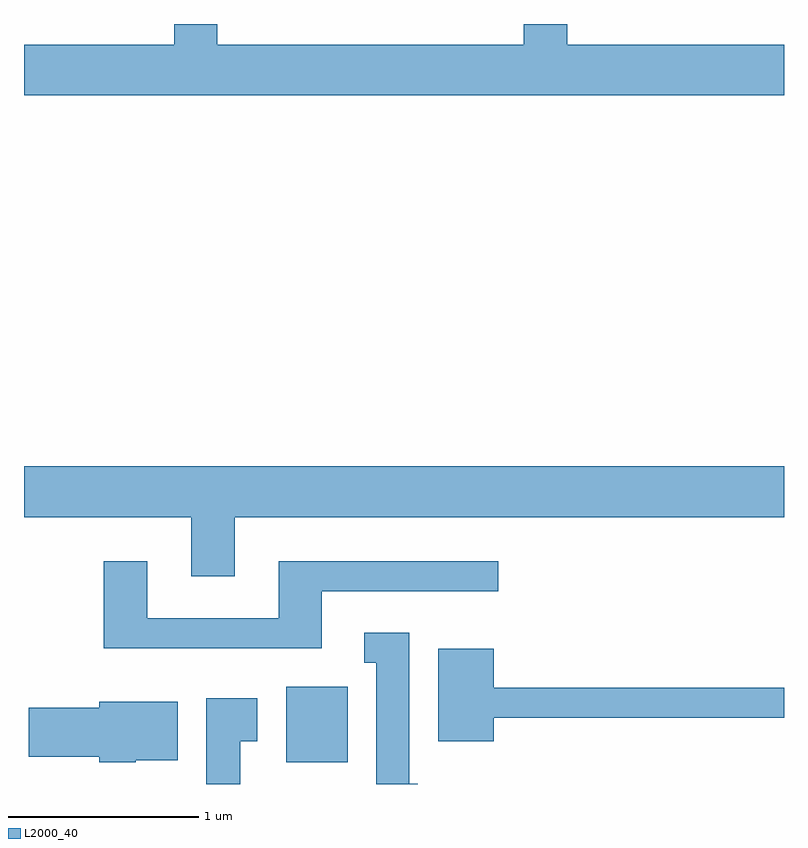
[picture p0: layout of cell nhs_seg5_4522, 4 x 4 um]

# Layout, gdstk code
import gdstk
lib = gdstk.Library(unit=1e-6, precision=1e-09)
def R(c, l, rs):  # rectangles x0, y0, x1, y1
    for r in rs: c.add(gdstk.rectangle(r[:2], r[2:], *l))
def P(c, l, *ps):  # polygons
    for p in ps: c.add(gdstk.Polygon(p, *l))
L2000_40 = (2000, 40)

nhs_seg5_4522 = lib.new_cell('nhs_seg5_4522')
R(nhs_seg5_4522, L2000_40, [(320.991,1442.186,321.314,1442.584)])
P(nhs_seg5_4522, L2000_40, [(323.611,1445.964),(322.469,1445.964),(322.469,1446.072),(322.241,1446.072),(322.241,1445.964),(320.629,1445.964),(320.629,1446.072),(320.401,1446.072),(320.401,1445.964),(319.611,1445.964),(319.611,1445.696),(323.611,1445.696)],
  [(320.719,1443.476),(323.611,1443.476),(323.611,1443.744),(319.611,1443.744),(319.611,1443.476),(320.491,1443.476),(320.491,1443.166),(320.719,1443.166)],
  [(321.179,1443.086),(322.108,1443.086),(322.108,1443.244),(320.951,1443.244),(320.951,1442.944),(320.259,1442.944),(320.259,1443.244),(320.031,1443.244),(320.031,1442.786),(321.179,1442.786)],
  [(321.684,1442.074),(321.639,1442.074),(321.639,1442.869),(321.403,1442.869),(321.403,1442.711),(321.466,1442.711),(321.466,1442.072),(321.684,1442.072)],
  [(322.084,1442.421),(323.611,1442.421),(323.611,1442.579),(322.084,1442.579),(322.084,1442.784),(321.791,1442.784),(321.791,1442.296),(322.084,1442.296)],
  [(320.749,1442.296),(320.839,1442.296),(320.839,1442.524),(320.571,1442.524),(320.571,1442.072),(320.749,1442.072)],
  [(320.2,1442.196),(320.419,1442.196),(320.419,1442.504),(320.006,1442.504),(320.006,1442.474),(319.636,1442.474),(319.636,1442.216),(320.006,1442.216),(320.006,1442.186),(320.2,1442.186)])

lib.write_gds('nhs_seg5_4522.gds')
